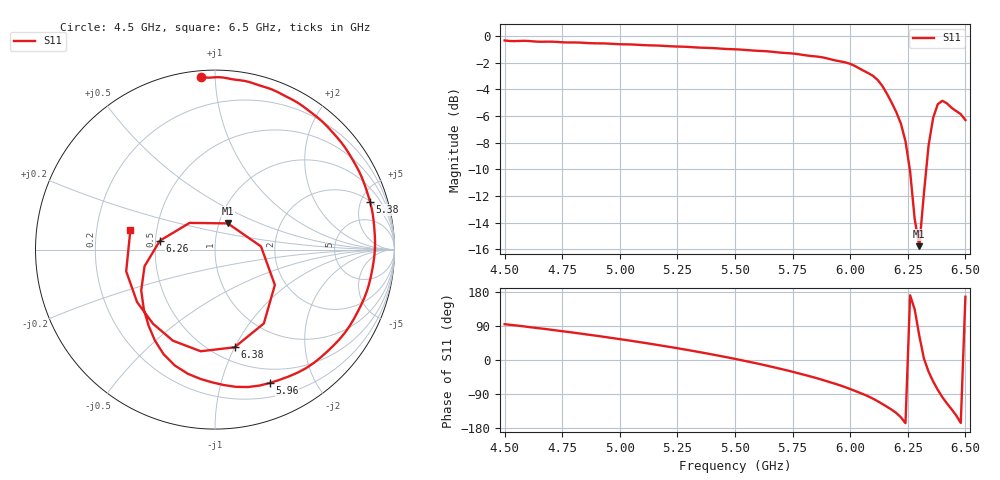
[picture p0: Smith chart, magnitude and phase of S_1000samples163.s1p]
! TOUCHSTONE file generated by CST MICROWAVE STUDIO
! Date and time: Thu Oct 27 05:23:00 2022
! Project name: L.cst
! Parameters = {Di=1.27; Epsilon_r=1.56; InnerDiameter=1.27; Length=2; Lf=10; Lg=60; OuterConductorThickness=0.2921; OuterDiameter=3.6; Wf=3; Wp=41.2; de=1.5; df=6.8; g=0.8; gx=4.87919; gy=3.34387; h=2.34; hf=1.524; px=10.3328; py=14.2326; w=9.7; wx=5.4536; wy=10.8888}
! Header version: 2018
! Port assignment regex: !\s*Touchstone port\s*([0-9]+)\s*=\s*(CST MWS port|CST DS port)\s*([0-9]+|Zmin|Zmax)\s*\(\"(.*)\"\)(\s*mode\s*([0-9]+))?.*
! Touchstone port assignment:
! Touchstone port 1 = CST MWS port 1 ("")
# GHz S DB R 50
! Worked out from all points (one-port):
!   101 points, 4.5 GHz to 6.5 GHz, reference 50 ohm
!   lowest |S11| = -15.8 dB at 6.3 GHz (marker M1), VSWR 1.39, Z = 55.1 + j16.5 ohm
!   |S11| at or under -10 dB: 6.259 GHz to 6.33 GHz (71.42 MHz wide, 1.13 % of centre)
!   S11 on the Smith chart (normalised r, x): 4.5 GHz: 0.03, +0.92; 5.38 GHz: 2.06, +5.97; 5.96 GHz: 0.34, -1.44; 6.26 GHz: 0.53, +0.06; 6.38 GHz: 0.63, -1.00; 6.5 GHz: 0.35, +0.10
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4.5  -0.32 94.5
4.76  -0.46 75.2
5  -0.60 55.1
5.26  -0.78 30.0
5.38  -0.88 17.1
5.5  -0.98 3.0
5.64  -1.13 -15.2
5.76  -1.32 -32.7
5.86  -1.54 -48.9
5.96  -1.90 -67.7
6  -2.08 -76.6
6.08  -2.79 -96.3
6.12  -3.30 -109.0
6.16  -4.34 -123.5
6.22  -6.56 -151.1
6.24  -7.89 -166.8
6.26  -10.15 170.8
6.28  -13.75 133.5
6.3  -15.78 63.8
6.32  -11.81 3.9
6.34  -8.24 -30.6
6.36  -6.14 -56.5
6.38  -5.11 -78.7
6.4  -4.85 -98.0
6.44  -5.38 -129.9
6.46  -5.62 -146.0
6.48  -5.86 -166.3
6.5  -6.30 166.7
